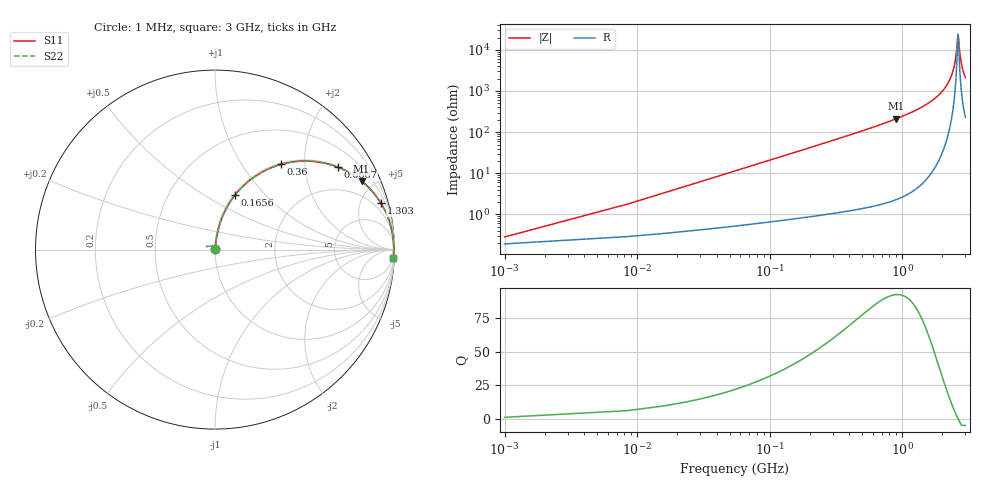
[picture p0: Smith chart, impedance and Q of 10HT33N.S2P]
! Coilcraft 1008HT-33N Chip Inductor
! 16 July 2002
# MHZ S MA R 50
!Freq  MagS11  AngS11  MagS21  AngS21  MagS12  AngS12  MagS22  AngS22
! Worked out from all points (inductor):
!   402 points, 1 MHz to 3 GHz, reference 50 ohm
!   read as one part in series: L = 33 nH near 15.96 MHz
!   highest Q = 92.8 at 906.1 MHz (marker M1), where L = 37.4 nH
!   self-resonance near 2.641 GHz
!   S11 on the Smith chart (normalised r, x): 1 MHz: 1.00, +0.00; 165.6 MHz: 1.02, +0.69; 360 MHz: 1.02, +1.52; 666.7 MHz: 1.03, +2.95; 1.303 GHz: 1.09, +7.14; 3 GHz: 6, -43
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1  0.002814 47.2  0.9981 -0.1  0.9981 -0.1  0.002814 47.2
23.44  0.04851 82.7  0.995 -2.8  0.995 -2.8  0.04851 82.7
45.88  0.0944 81.7  0.9907 -5.4  0.9907 -5.4  0.0944 81.7
90.76  0.1841 77.5  0.9768 -10.6  0.9768 -10.6  0.1841 77.5
165.56  0.3236 69.8  0.9387 -18.9  0.9387 -18.9  0.3236 69.8
360.04  0.6011 52.2  0.7901 -36.9  0.7901 -36.9  0.6011 52.2
502.16  0.7292 42.4  0.675 -46.8  0.675 -46.8  0.7292 42.4
666.72  0.8236 33.9  0.5578 -55.4  0.5578 -55.4  0.8236 33.9
906.08  0.9014 25.0  0.4233 -64.3  0.4233 -64.3  0.9014 25.0
1003.32  0.9213 22.3  0.379 -67.1  0.379 -67.1  0.9213 22.3
1302.52  0.9598 15.6  0.269 -73.7  0.269 -73.7  0.9598 15.6
1504.48  0.9744 12.2  0.2111 -77.0  0.2111 -77.0  0.9744 12.2
2005.64  0.9917 5.8  0.1011 -82.4  0.1011 -82.4  0.9917 5.8
2319.8  0.9953 2.7  0.04752 -82.9  0.04752 -82.9  0.9953 2.7
2506.8  0.9959 1.1  0.0195 -77.3  0.0195 -77.3  0.9959 1.1
2559.16  0.9959 0.7  0.01226 -70.2  0.01226 -70.2  0.9959 0.7
2626.48  0.9958 0.1  0.004679 -27.1  0.004679 -27.1  0.9958 0.1
2641.44  0.9958 0.0  0.00419 -1.1  0.00419 -1.1  0.9958 0.0
2723.72  0.9956 -0.6  0.0119 67.9  0.0119 67.9  0.9956 -0.6
2783.56  0.9953 -1.1  0.01949 75.6  0.01949 75.6  0.9953 -1.1
2880.8  0.9948 -1.8  0.0318 79.7  0.0318 79.7  0.9948 -1.8
3000  0.9939 -2.6  0.04648 81.2  0.04648 81.2  0.9939 -2.6
